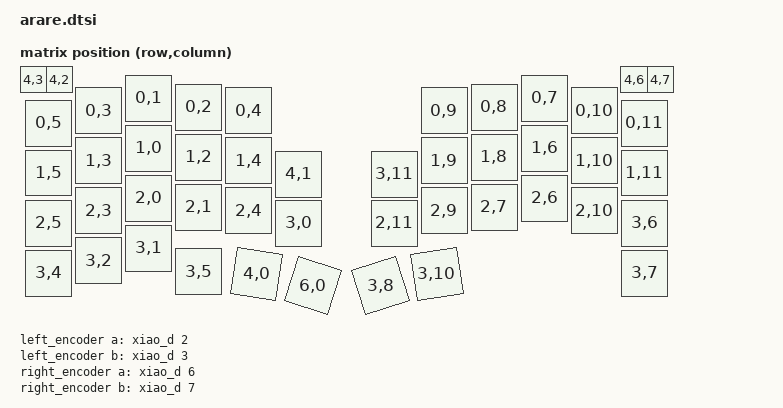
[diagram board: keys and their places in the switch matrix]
/*
 * arare — 左右分割・完全無線・charlieplex 6線/片手
 * 生成元データ: ~/arare/design-assets/arare_matrix.json（正データ）
 *              ~/arare/kicad/arare_{L,R}.kicad_pcb の実座標（物理レイアウト）
 *
 * ポジション順（47キー・キーマップと物理レイアウトはこの順で対応）:
 *  Row1:  Q  W  E  R  T   |  Y  U  I  O  P
 *  Row2:  A  S  D  F  G  [ENC1] [ENC2]  H  J  K  L  -
 *  Row3:  Z  X  C  V  B  [fn2]  [右クリック]  N  M  ,  .  @
 *  Row4:  英数 Ctrl ⌘ fn1 SPACE [JOY押込] | ENTER BSPC かな
 *  Tact:  L(reset unlock) | R(unlock reset)
 */

#include <dt-bindings/zmk/matrix_transform.h>
#include <physical_layouts.dtsi>

/ {
    chosen {
        zmk,kscan = &kscan0;
        zmk,physical-layout = &arare_layout;
    };

    arare_layout: arare_layout {
        compatible = "zmk,physical-layout";
        display-name = "arare";
        transform = <&default_transform>;
        kscan = <&kscan0>;
        keys  //                      w   h    x    y     rot    rx    ry
            = <&key_physical_attrs 100 100   11   68       0     0     0>  /* SW5  Q */
            , <&key_physical_attrs 100 100  111   43       0     0     0>  /* SW3  W */
            , <&key_physical_attrs 100 100  211   18       0     0     0>  /* SW1  E */
            , <&key_physical_attrs 100 100  311   36       0     0     0>  /* SW2  R */
            , <&key_physical_attrs 100 100  411   43       0     0     0>  /* SW4  T */
            , <&key_physical_attrs 100 100  803   43       0     0     0>  /* SW24 Y */
            , <&key_physical_attrs 100 100  903   36       0     0     0>  /* SW23 U */
            , <&key_physical_attrs 100 100 1003   18       0     0     0>  /* SW22 I */
            , <&key_physical_attrs 100 100 1103   43       0     0     0>  /* SW25 O */
            , <&key_physical_attrs 100 100 1203   68       0     0     0>  /* SW26 P */
            , <&key_physical_attrs 100 100   11  168       0     0     0>  /* SW10 A */
            , <&key_physical_attrs 100 100  111  143       0     0     0>  /* SW8  S */
            , <&key_physical_attrs 100 100  211  118       0     0     0>  /* SW6  D */
            , <&key_physical_attrs 100 100  311  136       0     0     0>  /* SW7  F */
            , <&key_physical_attrs 100 100  411  143       0     0     0>  /* SW9  G */
            , <&key_physical_attrs 100 100  511  170       0     0     0>  /* ENC1 push */
            , <&key_physical_attrs 100 100  703  170       0     0     0>  /* ENC2 push */
            , <&key_physical_attrs 100 100  803  143       0     0     0>  /* SW29 H */
            , <&key_physical_attrs 100 100  903  136       0     0     0>  /* SW28 J */
            , <&key_physical_attrs 100 100 1003  118       0     0     0>  /* SW27 K */
            , <&key_physical_attrs 100 100 1103  143       0     0     0>  /* SW30 L */
            , <&key_physical_attrs 100 100 1203  168       0     0     0>  /* SW31 - */
            , <&key_physical_attrs 100 100   11  268       0     0     0>  /* SW15 Z */
            , <&key_physical_attrs 100 100  111  243       0     0     0>  /* SW13 X */
            , <&key_physical_attrs 100 100  211  218       0     0     0>  /* SW11 C */
            , <&key_physical_attrs 100 100  311  236       0     0     0>  /* SW12 V */
            , <&key_physical_attrs 100 100  411  243       0     0     0>  /* SW14 B */
            , <&key_physical_attrs 100 100  511  268       0     0     0>  /* SW16 fn2 */
            , <&key_physical_attrs 100 100  703  268       0     0     0>  /* SW36 右クリック */
            , <&key_physical_attrs 100 100  803  243       0     0     0>  /* SW34 N */
            , <&key_physical_attrs 100 100  903  236       0     0     0>  /* SW33 M */
            , <&key_physical_attrs 100 100 1003  218       0     0     0>  /* SW32 , */
            , <&key_physical_attrs 100 100 1103  243       0     0     0>  /* SW35 . */
            , <&key_physical_attrs 100 100 1203  268       0     0     0>  /* SW37 @ */
            , <&key_physical_attrs 100 100   11  368       0     0     0>  /* SW19 英数 */
            , <&key_physical_attrs 100 100  111  343       0     0     0>  /* SW18 Ctrl/opt */
            , <&key_physical_attrs 100 100  211  318       0     0     0>  /* SW17 ⌘ */
            , <&key_physical_attrs 100 100  311  365       0     0     0>  /* SW20 fn1 */
            , <&key_physical_attrs 100 100  427  370     821   477   420>  /* SW21 SPACE */
            , <&key_physical_attrs 100 100  540  393    1807   590   443>  /* SW46 JOY押込 */
            , <&key_physical_attrs 100 100  675  393 (-1807)   725   443>  /* SW39 ENTER */
            , <&key_physical_attrs 100 100  788  370  (-821)   838   420>  /* SW40 BSPC */
            , <&key_physical_attrs 100 100 1203  368       0     0     0>  /* SW38 かな */
            , <&key_physical_attrs  60  60    0    0       0     0     0>  /* SW41 L-reset */
            , <&key_physical_attrs  60  60   53    0       0     0     0>  /* SW42 L-unlock */
            , <&key_physical_attrs  60  60 1202    0       0     0     0>  /* SW43 R-unlock */
            , <&key_physical_attrs  60  60 1255    0       0     0     0>  /* SW44 R-reset */
            ;
    };

    /*
     * charlieplex RC(i,j): i = driveするM線のindex / j = 読むM線のindex
     * 左=col 0-5, 右=col 6-11（右overlayで col-offset=<6>）
     * JOY押込は直結GPIO（compositeで row 6）
     */
    default_transform: keymap_transform_0 {
        compatible = "zmk,matrix-transform";
        columns = <12>;
        rows = <7>;
        map = <
RC(0,5) RC(0,3) RC(0,1) RC(0,2) RC(0,4)                 RC(0,9) RC(0,8) RC(0,7) RC(0,10) RC(0,11)
RC(1,5) RC(1,3) RC(1,0) RC(1,2) RC(1,4) RC(4,1) RC(3,11) RC(1,9) RC(1,8) RC(1,6) RC(1,10) RC(1,11)
RC(2,5) RC(2,3) RC(2,0) RC(2,1) RC(2,4) RC(3,0) RC(2,11) RC(2,9) RC(2,7) RC(2,6) RC(2,10) RC(3,6)
RC(3,4) RC(3,2) RC(3,1) RC(3,5) RC(4,0) RC(6,0)         RC(3,8) RC(3,10) RC(3,7)
RC(4,3) RC(4,2)                                         RC(4,6) RC(4,7)
        >;
    };

    kscan0: kscan_composite {
        compatible = "zmk,kscan-composite";
        rows = <7>;
        columns = <6>;

        matrix {
            kscan = <&kscan_matrix>;
        };
    };

    kscan_matrix: kscan_matrix {
        compatible = "zmk,kscan-gpio-charlieplex";
        /* 割込線なし＝常時ポーリング。1ms(default)は電池に厳しいので5msに */
        poll-period-ms = <5>;
        /* gpios は左右overlayで M0..M5 の順に定義 */
    };

    /* 左=EC12(垂直) D2/D3, 右=CKW12(水平) D6/D7。steps/triggersは実機で要調整 */
    left_encoder: encoder_left {
        compatible = "alps,ec11";
        a-gpios = <&xiao_d 2 (GPIO_ACTIVE_HIGH | GPIO_PULL_UP)>;
        b-gpios = <&xiao_d 3 (GPIO_ACTIVE_HIGH | GPIO_PULL_UP)>;
        steps = <12>;
        status = "disabled";
    };

    right_encoder: encoder_right {
        compatible = "alps,ec11";
        a-gpios = <&xiao_d 6 (GPIO_ACTIVE_HIGH | GPIO_PULL_UP)>;
        b-gpios = <&xiao_d 7 (GPIO_ACTIVE_HIGH | GPIO_PULL_UP)>;
        steps = <12>;
        status = "disabled";
    };

    sensors: sensors {
        compatible = "zmk,keymap-sensors";
        sensors = <&left_encoder &right_encoder>;
        triggers-per-rotation = <10>;
    };
};

/* uart0はD6/D7を掴む（左=M2/M3, 右=ENC_A/B と衝突）ため両側で無効化 */
&xiao_serial {
    status = "disabled";
};
